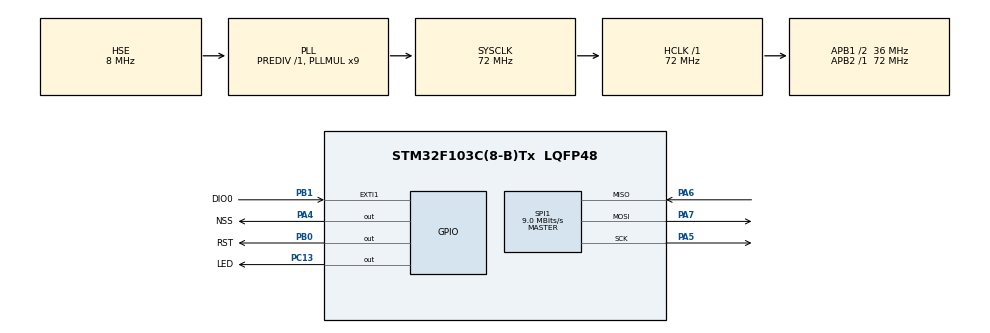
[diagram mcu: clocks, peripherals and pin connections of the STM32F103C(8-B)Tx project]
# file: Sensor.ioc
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Mcu.Family=STM32F1
Mcu.Name=STM32F103C(8-B)Tx
Mcu.Package=LQFP48
NVIC.EXTI1_IRQn=true\:0\:0\:false\:false\:true\:true\:true\:true
NVIC.PriorityGroup=NVIC_PRIORITYGROUP_4
PA13.Mode=Serial_Wire
PA13.Signal=SYS_JTMS-SWDIO
PA14.Mode=Serial_Wire
PA14.Signal=SYS_JTCK-SWCLK
PA4.GPIO_Label=NSS
PA4.PinState=GPIO_PIN_SET
PA4.Signal=GPIO_Output
PA5.Mode=Full_Duplex_Master
PA5.Signal=SPI1_SCK
PA6.Mode=Full_Duplex_Master
PA6.Signal=SPI1_MISO
PA7.Mode=Full_Duplex_Master
PA7.Signal=SPI1_MOSI
PB0.GPIO_Label=RST
PB0.PinState=GPIO_PIN_SET
PB0.Signal=GPIO_Output
PB1.GPIO_Label=DIO0
PB1.GPIO_ModeDefaultEXTI=GPIO_MODE_IT_RISING
PB1.Signal=GPXTI1
PC13-TAMPER-RTC.GPIO_Label=LED
PC13-TAMPER-RTC.PinState=GPIO_PIN_SET
PC13-TAMPER-RTC.Signal=GPIO_Output
PD0-OSC_IN.Mode=HSE-External-Oscillator
PD0-OSC_IN.Signal=RCC_OSC_IN
PD1-OSC_OUT.Mode=HSE-External-Oscillator
PD1-OSC_OUT.Signal=RCC_OSC_OUT
ProjectManager.HeapSize=0x200
ProjectManager.StackSize=0x400
ProjectManager.TargetToolchain=STM32CubeIDE
RCC.AHBFreq_Value=72000000
RCC.APB1CLKDivider=RCC_HCLK_DIV2
RCC.APB1Freq_Value=36000000
RCC.APB1TimFreq_Value=72000000
RCC.APB2Freq_Value=72000000
RCC.APB2TimFreq_Value=72000000
RCC.HCLKFreq_Value=72000000
RCC.PLLMUL=RCC_PLL_MUL9
RCC.PLLSourceVirtual=RCC_PLLSOURCE_HSE
RCC.SYSCLKFreq_VALUE=72000000
RCC.SYSCLKSource=RCC_SYSCLKSOURCE_PLLCLK
RCC.USBFreq_Value=72000000
SPI1.BaudRatePrescaler=SPI_BAUDRATEPRESCALER_8
SPI1.CalculateBaudRate=9.0 MBits/s
SPI1.Direction=SPI_DIRECTION_2LINES
SPI1.Mode=SPI_MODE_MASTER
SPI1.VirtualType=VM_MASTER
board=custom

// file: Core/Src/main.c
/* USER CODE BEGIN Header */
/**
  ******************************************************************************
  * @file           : main.c
  * @brief          : Main program body
  ******************************************************************************
  * @attention
  *
  * Copyright (c) 2024 STMicroelectronics.
  * All rights reserved.
  *
  * This software is licensed under terms that can be found in the LICENSE file
  * in the root directory of this software component.
  * If no LICENSE file comes with this software, it is provided AS-IS.
  *
  ******************************************************************************
  */
/* USER CODE END Header */
#include "main.h"
#include "spi.h"
#include "gpio.h"

/* USER CODE BEGIN Includes */
#include "LoRa.h"
#include "stdio.h"
/* USER CODE END Includes */

/* USER CODE BEGIN PV */

// THIS IS SENSOR

LoRa myLoRa;
uint16_t LoRa_stat;
uint8_t count = 0;
uint8_t TxData[10];
uint16_t LoRa_launch = 0;
uint16_t LoRa_transmit_code= 0;

uint8_t read_data[128];
uint8_t send_data[128];
uint8_t send_data2[2];
int			RSSI;

/* USER CODE END PV */

void SystemClock_Config(void);

int main(void)
{

  /* MCU Configuration--------------------------------------------------------*/

  /* Reset of all peripherals, Initializes the Flash interface and the Systick. */
  HAL_Init();

  /* Configure the system clock */
  SystemClock_Config();

  /* Initialize all configured peripherals */
  MX_GPIO_Init();
  MX_SPI1_Init();
  /* USER CODE BEGIN 2 */
  myLoRa = newLoRa();

  myLoRa.CS_port         = NSS_GPIO_Port;
  myLoRa.CS_pin          = NSS_Pin;
  myLoRa.reset_port      = RST_GPIO_Port;
  myLoRa.reset_pin       = RST_Pin;
  myLoRa.DIO0_port       = DIO0_GPIO_Port;
  myLoRa.DIO0_pin        = DIO0_Pin;
  myLoRa.hSPIx           = &hspi1;

	myLoRa.frequency             = 433;							  // default = 433 MHz
	myLoRa.spredingFactor        = SF_7;							// default = SF_7
	myLoRa.bandWidth			       = BW_125KHz;				  // default = BW_125KHz
	myLoRa.crcRate				       = CR_4_5;						// default = CR_4_5
	myLoRa.power					       = POWER_20db;				// default = 20db
	myLoRa.overCurrentProtection = 100; 							// default = 100 mA
	myLoRa.preamble				       = 8;

	LoRa_reset(&myLoRa);

	LoRa_launch = LoRa_init(&myLoRa);
	if(LoRa_launch==LORA_OK){
		LoRa_stat = 1;
		HAL_GPIO_WritePin(LED_GPIO_Port, LED_Pin, 0);
		HAL_GPIO_TogglePin(LED_GPIO_Port, LED_Pin);
		HAL_Delay(100);
		HAL_GPIO_TogglePin(LED_GPIO_Port, LED_Pin);
		HAL_Delay(100);
		HAL_GPIO_TogglePin(LED_GPIO_Port, LED_Pin);
		HAL_Delay(100);
		HAL_GPIO_TogglePin(LED_GPIO_Port, LED_Pin);
		HAL_Delay(100);
		HAL_GPIO_TogglePin(LED_GPIO_Port, LED_Pin);
		HAL_Delay(100);

	}else if(LoRa_launch==LORA_NOT_FOUND){
		LoRa_stat = 2;
	}else if(LoRa_launch==LORA_UNAVAILABLE){
		LoRa_stat = 3;
	};

	send_data[0] = 0x3B; // MY ADDRESS
	for(uint8_t i = count; i<26; i++)
		send_data[i+1] = 48+i;

//  if(LoRa_init(&myLoRa)==LORA_OK){
//	LoRa_stat = 1;
//  }else if(LoRa_init(&myLoRa)==LORA_NOT_FOUND){
//	  LoRa_stat = 2;
//  }else if(LoRa_init(&myLoRa)==LORA_UNAVAILABLE){
//	  LoRa_stat = 3;
//  };

//  TxData[0] = 100;
//  TxData[1] = 1;

  //LoRa_transmit(&myLoRa, TxData, 3, 500);

  /* USER CODE END 2 */

  /* Infinite loop */
  /* USER CODE BEGIN WHILE */
  while (1)
  {
	//HAL_GPIO_TogglePin(LED_RED_GPIO_Port, LED_RED_Pin);
	count++;
	send_data2[0] = 'X';
	send_data2[0] = 'D';
	if(LoRa_transmit(&myLoRa, send_data2, 2, 2000) == 1){
		LoRa_transmit_code = 1;
		HAL_GPIO_TogglePin(LED_GPIO_Port, LED_Pin);
		HAL_Delay(100);
		HAL_GPIO_TogglePin(LED_GPIO_Port, LED_Pin);
		HAL_Delay(100);

	}else{
		LoRa_transmit_code = 2;
	}
//	send_data[0] = 0x3B; // MY ADDRESS
//	for(uint8_t i = count; i<26; i++)
//		send_data[i+1] = 48+i;
//	if(LoRa_transmit(&myLoRa, send_data, 128, 2000) == 1){
//		LoRa_transmit_code = 1;
//	}else{
//		LoRa_transmit_code = 2;
//	}

	HAL_Delay(1000);
    /* USER CODE END WHILE */

  }
}

void SystemClock_Config(void)
{
  RCC_OscInitTypeDef RCC_OscInitStruct = {0};
  RCC_ClkInitTypeDef RCC_ClkInitStruct = {0};

  /** Initializes the RCC Oscillators according to the specified parameters
  * in the RCC_OscInitTypeDef structure.
  */
  RCC_OscInitStruct.OscillatorType = RCC_OSCILLATORTYPE_HSE;
  RCC_OscInitStruct.HSEState = RCC_HSE_ON;
  RCC_OscInitStruct.HSEPredivValue = RCC_HSE_PREDIV_DIV1;
  RCC_OscInitStruct.HSIState = RCC_HSI_ON;
  RCC_OscInitStruct.PLL.PLLState = RCC_PLL_ON;
  RCC_OscInitStruct.PLL.PLLSource = RCC_PLLSOURCE_HSE;
  RCC_OscInitStruct.PLL.PLLMUL = RCC_PLL_MUL9;
  if (HAL_RCC_OscConfig(&RCC_OscInitStruct) != HAL_OK)
  {
    Error_Handler();
  }

  /** Initializes the CPU, AHB and APB buses clocks
  */
  RCC_ClkInitStruct.ClockType = RCC_CLOCKTYPE_HCLK|RCC_CLOCKTYPE_SYSCLK
                              |RCC_CLOCKTYPE_PCLK1|RCC_CLOCKTYPE_PCLK2;
  RCC_ClkInitStruct.SYSCLKSource = RCC_SYSCLKSOURCE_PLLCLK;
  RCC_ClkInitStruct.AHBCLKDivider = RCC_SYSCLK_DIV1;
  RCC_ClkInitStruct.APB1CLKDivider = RCC_HCLK_DIV2;
  RCC_ClkInitStruct.APB2CLKDivider = RCC_HCLK_DIV1;

  if (HAL_RCC_ClockConfig(&RCC_ClkInitStruct, FLASH_LATENCY_2) != HAL_OK)
  {
    Error_Handler();
  }
}

void Error_Handler(void)
{
  __disable_irq();
  while (1)
  {
  }
}
